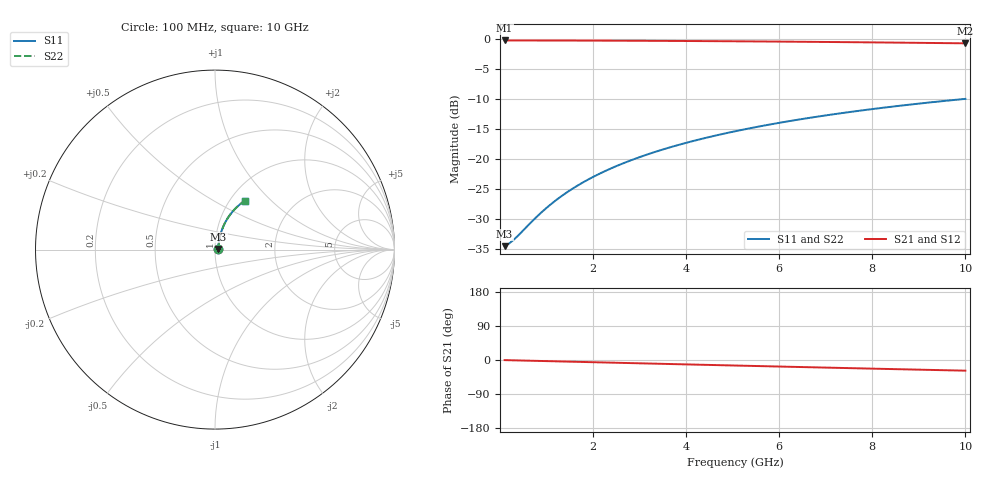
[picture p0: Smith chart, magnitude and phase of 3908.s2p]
# Hz S RI R 50.00
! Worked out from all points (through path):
!   100 points, 100 MHz to 10 GHz, reference 50 ohm
!   highest |S21| = -0.16 dB at 100 MHz (marker M1); lowest = -0.6 dB at 10 GHz (marker M2)
!   group delay of S21, straight-line fit = 7.84 ps
!   lowest |S11| = -34.5 dB at 100 MHz (marker M3), VSWR 1.04, Z = 51.9 + j0.348 ohm
!   |S11| at or under -10 dB: start of sweep to 9.875 GHz
!   |S22| runs from -34.5 to -9.9 dB; largest |S21 - S12| = 0
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1e8  0.0186 0.00335  0.9814 -0.005  0.9814 -0.005  0.0186 0.00335
2e8  0.0188 0.0067  0.9812 -0.00999  0.9812 -0.00999  0.0188 0.0067
3e8  0.0189 0.0101  0.981 -0.015  0.981 -0.015  0.0189 0.0101
8e8  0.0201 0.0268  0.9798 -0.0399  0.9798 -0.0399  0.0201 0.0268
9e8  0.0205 0.0301  0.9794 -0.0449  0.9794 -0.0449  0.0205 0.0301
1.1e9  0.0212 0.0367  0.9786 -0.0548  0.9786 -0.0548  0.0212 0.0367
1.4e9  0.0226 0.0467  0.9771 -0.0697  0.9771 -0.0697  0.0226 0.0467
1.6e9  0.0237 0.0533  0.976 -0.0796  0.976 -0.0796  0.0237 0.0533
1.8e9  0.0249 0.0598  0.9747 -0.0894  0.9747 -0.0894  0.0249 0.0598
2.1e9  0.0269 0.0696  0.9724 -0.1041  0.9724 -0.1041  0.0269 0.0696
2.5e9  0.0301 0.0825  0.969 -0.1236  0.969 -0.1236  0.0301 0.0825
2.9e9  0.0338 0.0953  0.965 -0.143  0.965 -0.143  0.0338 0.0953
3.4e9  0.0391 0.111  0.9593 -0.1669  0.9593 -0.1669  0.0391 0.111
3.8e9  0.0438 0.1232  0.9541 -0.1858  0.9541 -0.1858  0.0438 0.1232
4.2e9  0.0491 0.1353  0.9484 -0.2044  0.9484 -0.2044  0.0491 0.1353
4.6e9  0.0548 0.1471  0.9423 -0.2228  0.9423 -0.2228  0.0548 0.1471
5.1e9  0.0625 0.1614  0.9338 -0.2454  0.9338 -0.2454  0.0625 0.1614
5.9e9  0.0763 0.1833  0.9189 -0.2806  0.9189 -0.2806  0.0763 0.1833
6.7e9  0.0915 0.2039  0.9022 -0.3144  0.9022 -0.3144  0.0915 0.2039
7.5e9  0.1081 0.223  0.884 -0.3468  0.884 -0.3468  0.1081 0.223
8.4e9  0.1282 0.2427  0.8619 -0.3814  0.8619 -0.3814  0.1282 0.2427
1e10  0.167 0.2725  0.8189 -0.4381  0.8189 -0.4381  0.167 0.2725
